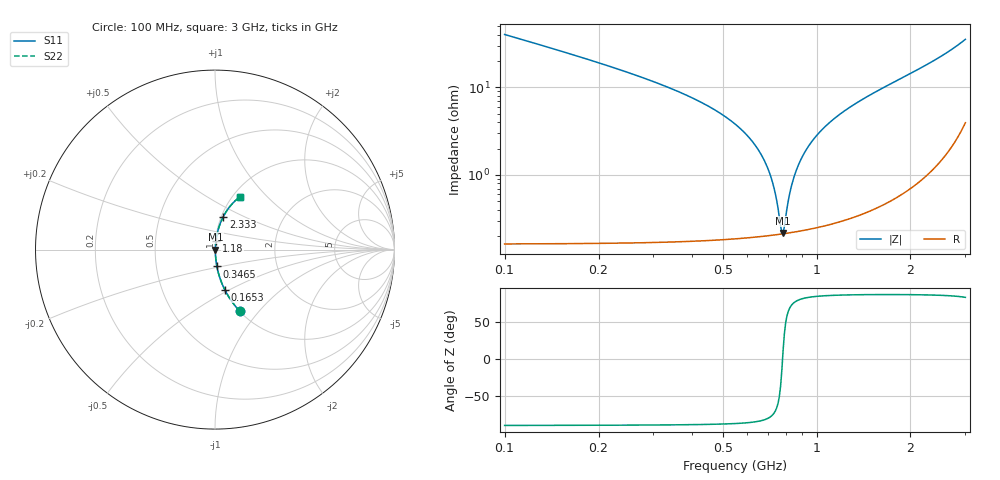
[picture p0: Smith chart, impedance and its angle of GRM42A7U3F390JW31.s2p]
!Murata Part Number: GRM42A7U3F390JW31
!These Parameters are Measured in Series Mode Connection
!Data Generated on Mar 30, 2021
!  o--ll--o
!Port1  Port2
!  o------o
!Operation Temp=25[degC], DC Bias Voltage=0[V]
!Freq. Start=100[MHz] Stop=3[GHz] 401[Steps]
# Hz S RI R 50
!Freq.(Hz) S11(Real) S11(Imag) S21(Real) S21(Imag) S12(Real) S12(Imag) S22(Real) S22(Imag)
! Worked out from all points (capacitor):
!   401 points, 100 MHz to 3 GHz, reference 50 ohm
!   read as one part in series: C = 38.9 pF near 114.5 MHz
!   lowest |Z| = 219 mohm at 781.5 MHz (marker M1)
!   series resonance near 778 MHz, so ESL is about 1.1 nH
!   S11 on the Smith chart (normalised r, x): 100 MHz: 1.00, -0.80; 165.2 MHz: 1.00, -0.47; 346.5 MHz: 1.00, -0.19; 1.18 GHz: 1.01, +0.10; 2.333 GHz: 1.02, +0.39; 3 GHz: 1.08, +0.70
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1e8  0.1399 -0.3448  0.8601 0.3448  0.8601 0.3448  0.1399 -0.3448
1.6525e8  0.0542 -0.223  0.9458 0.223  0.9458 0.223  0.0542 -0.223
3.465e8  0.0106 -0.0938  0.9894 0.0938  0.9894 0.0938  0.0106 -0.0938
4.915e8  0.00435 -0.0502  0.9957 0.0502  0.9957 0.0502  0.00435 -0.0502
5.8575e8  0.00284 -0.0306  0.9972 0.0306  0.9972 0.0306  0.00284 -0.0306
6.51e8  0.00233 -0.0191  0.9977 0.0191  0.9977 0.0191  0.00233 -0.0191
6.945e8  0.00217 -0.0122  0.9978 0.0122  0.9978 0.0122  0.00217 -0.0122
7.3075e8  0.00211 -0.00674  0.9979 0.00674  0.9979 0.00674  0.00211 -0.00674
7.67e8  0.00211 -0.00154  0.9979 0.00154  0.9979 0.00154  0.00211 -0.00154
7.815e8  0.00213 0.000479  0.9979 -0.000479  0.9979 -0.000479  0.00213 0.000479
7.8875e8  0.00214 0.00148  0.9979 -0.00148  0.9979 -0.00148  0.00214 0.00148
8.1775e8  0.00221 0.00539  0.9978 -0.00539  0.9978 -0.00539  0.00221 0.00539
8.3225e8  0.00226 0.0073  0.9977 -0.0073  0.9977 -0.0073  0.00226 0.0073
8.83e8  0.00247 0.0138  0.9975 -0.0138  0.9975 -0.0138  0.00247 0.0138
9.6275e8  0.00298 0.0235  0.997 -0.0235  0.997 -0.0235  0.00298 0.0235
1.0715e9  0.00394 0.036  0.9961 -0.036  0.9961 -0.036  0.00394 0.036
1.18025e9  0.00522 0.0481  0.9948 -0.0481  0.9948 -0.0481  0.00522 0.0481
1.55e9  0.0119 0.0877  0.9881 -0.0877  0.9881 -0.0877  0.0119 0.0877
2.03575e9  0.0285 0.1436  0.9715 -0.1436  0.9715 -0.1436  0.0285 0.1436
2.333e9  0.0461 0.1833  0.9539 -0.1833  0.9539 -0.1833  0.0461 0.1833
2.5215e9  0.0624 0.2114  0.9376 -0.2114  0.9376 -0.2114  0.0624 0.2114
3e9  0.1366 0.2918  0.8634 -0.2918  0.8634 -0.2918  0.1366 0.2918
